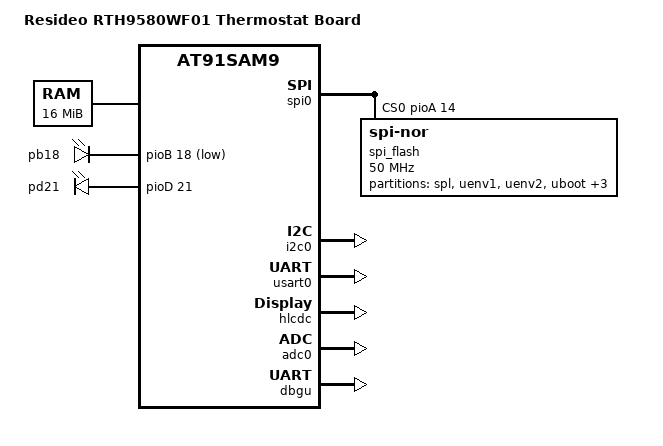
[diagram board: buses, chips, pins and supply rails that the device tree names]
/*
 * rth9580wf01.dts - Device Tree file for RTH9580WF01 Thermostat Board
 *
 * Licensed under GPLv2 or later.
 */
/dts-v1/;
#include "rth9580wf01.dtsi"
#include "at91sam9x5_lcd.dtsi"
#include "at91sam9x5_macb0.dtsi"

/ {
	model = "Resideo RTH9580WF01 Thermostat Board";
	compatible = "resideo,rth9580wf01", "atmel,at91sam9x5", "atmel,at91sam9g35", "atmel,at91sam9";

	chosen {
		bootargs = "console=ttyS0,115200 console=tty0 rootfstype=squashfs,jffs2 noinitrd fbcon=rotate:2";
		stdout-path = "serial0:115200n8";
		u-boot,dm-pre-reloc;
	};

	ahb {
		apb {
			spi0: spi@f0000000 {
				cs-gpios = <&pioA 14 0>, <0>, <0>, <0>;
				status = "okay";
				u-boot,dm-pre-reloc;

				spi_flash@0 {
					#address-cells = <1>;
					#size-cells = <1>;
					compatible = "jedec,spi-nor";
					reg = <0>;
					spi-max-frequency = <50000000>;
					m25p,fast-read;

					partition@0 {
						label = "spl";
						reg = <0x0 0x8000>;
					};
					partition@8000 {
						label = "uenv1";
						reg = <0x8000 0x4000>;
					};
					partition@c000 {
						label = "uenv2";
						reg = <0xc000 0x4000>;
					};
					partition@10000 {
						label = "uboot";
						reg = <0x10000 0xb0000>;
					};
					partition@c0000 {
						label = "kernel";
						reg = <0xc0000 0x400000>;
					};
					partition@4c0000 {
						label = "rootfs";
						reg = <0x4c0000 0x400000>;
					};
					partition@8c0000 {
						label = "data";
						reg = <0x8c0000 0x740000>;
					};
				};
			};

			ssc0: ssc@f0010000 {
				status = "okay";
			};

			i2c0: i2c@f8010000 {
				status = "okay";
			};

			usart0: serial@f801c000 {
				status = "okay";
			};

			hlcdc: hlcdc@f8038000 {
				atmel,vl-bpix = <4>;
				atmel,guard-time = <1>;
				pinctrl-names = "default";
				pinctrl-0 = <&pinctrl_lcd_base &pinctrl_lcd_pwm &pinctrl_lcd_rgb888>;
				rotate = <2>;

				status = "okay";
				u-boot,dm-pre-reloc;

				display-timings {
					480x272 {
						clock-frequency = <9000000>;
						hactive = <480>;
						vactive = <272>;
						hsync-len = <41>;
						hfront-porch = <2>;
						hback-porch = <2>;
						vfront-porch = <2>;
						vback-porch = <2>;
						vsync-len = <11>;
					};
				};
			};

			adc0: adc@f804c000 {
				atmel,adc-ts-wires = <4>;
				atmel,adc-ts-pressure-threshold = <10000>;
				status = "okay";
			};

			dbgu: serial@fffff200 {
				u-boot,dm-pre-reloc;
				status = "okay";
			};

			watchdog: watchdog@fffffe40 {
				status = "okay";
			};

			rtc@fffffeb0 {
				status = "okay";
			};
		};
	};

	memory {
		reg = <0x20000000 0x1000000>;
	};

	clocks {
		slow_xtal {
			clock-frequency = <32768>;
		};

		main_xtal {
			clock-frequency = <12000000>;
		};
	};

	leds {
		compatible = "gpio-leds";

		pb18 {
			label = "pb18";
			gpios = <&pioB 18 GPIO_ACTIVE_LOW>;
			linux,default-trigger = "heartbeat";
		};

		pd21 {
			label = "pd21";
			gpios = <&pioD 21 GPIO_ACTIVE_HIGH>;
		};
	};

};
